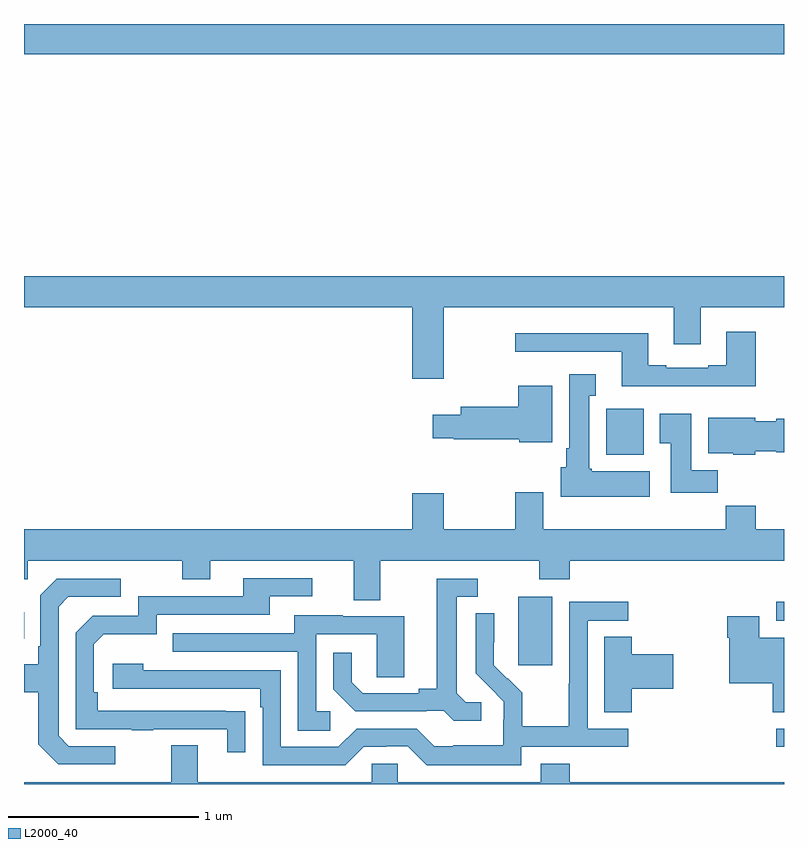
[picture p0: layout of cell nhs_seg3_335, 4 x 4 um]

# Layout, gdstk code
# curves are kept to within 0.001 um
import gdstk
lib = gdstk.Library(unit=1e-6, precision=1e-09)
def R(c, l, rs):  # rectangles x0, y0, x1, y1
    for r in rs: c.add(gdstk.rectangle(r[:2], r[2:], *l))
def P(c, l, *ps):  # polygons
    for p in ps: c.add(gdstk.Polygon(p, *l))
L2000_40 = (2000, 40)

nhs_seg3_335 = lib.new_cell('nhs_seg3_335')
R(nhs_seg3_335, L2000_40, [(130.959,706.596,131,706.692), (129.602,707.025,129.781,707.386), (127,707.165,127.001,707.305), (130.959,707.259,131,707.358), (130.064,708.134,130.261,708.376), (127,710.24,131,710.4)])
P(nhs_seg3_335, L2000_40, [(129.208,708.908),(130.421,708.908),(130.421,708.714),(130.561,708.714),(130.561,708.908),(131,708.908),(131,709.072),(127,709.072),(127,708.908),(129.044,708.908),(129.044,708.534),(129.208,708.534)],
  [(130.85,708.781),(130.697,708.781),(130.697,708.604),(130.601,708.604),(130.601,708.591),(130.381,708.591),(130.381,708.604),(130.285,708.604),(130.285,708.772),(129.585,708.772),(129.585,708.675),(130.145,708.675),(130.145,708.494),(130.85,708.494)],
  [(130.294,708.046),(129.989,708.046),(129.989,708.06),(129.976,708.06),(129.976,708.443),(130.009,708.443),(130.009,708.556),(129.869,708.556),(129.869,708.166),(129.854,708.166),(129.854,708.066),(129.824,708.066),(129.824,707.912),(130.294,707.912)],
  [(129.781,708.496),(129.602,708.496),(129.602,708.386),(129.299,708.386),(129.299,708.343),(129.15,708.343),(129.15,708.221),(129.262,708.221),(129.262,708.214),(129.606,708.214),(129.606,708.2),(129.781,708.2)],
  [(130.652,708.052),(130.513,708.052),(130.513,708.349),(130.346,708.349),(130.346,708.193),(130.403,708.193),(130.403,707.934),(130.652,707.934)],
  [(130.848,708.152),(130.959,708.152),(130.959,708.145),(131,708.145),(131,708.323),(130.959,708.323),(130.959,708.31),(130.848,708.31),(130.848,708.328),(130.601,708.328),(130.601,708.14),(130.734,708.14),(130.734,708.134),(130.848,708.134)],
  [(128.875,707.576),(129.712,707.576),(129.712,707.477),(129.872,707.477),(129.872,707.576),(131,707.576),(131,707.74),(130.85,707.74),(130.85,707.864),(130.693,707.864),(130.693,707.74),(129.733,707.74),(129.733,707.935),(129.586,707.935),(129.586,707.74),(129.208,707.74),(129.208,707.929),(129.044,707.929),(129.044,707.74),(127,707.74),(127,707.477),(127.02,707.477),(127.02,707.576),(127.834,707.576),(127.834,707.477),(127.981,707.477),(127.981,707.576),(128.735,707.576),(128.735,707.368),(128.875,707.368)],
  [(128.165,706.784),(127.388,706.785),(127.388,706.882),(127.368,706.882),(127.368,707.136),(127.421,707.189),(127.698,707.189),(127.698,707.292),(128.293,707.292),(128.293,707.388),(128.518,707.388),(128.518,707.484),(128.153,707.484),(128.153,707.388),(127.602,707.388),(127.602,707.286),(127.362,707.286),(127.272,707.196),(127.272,706.689),(127.567,706.689),(127.567,706.684),(127.679,706.684),(127.679,706.689),(128.069,706.689),(128.069,706.566),(128.165,706.566)],
  [(129.406,706.83),(129.324,706.83),(129.277,706.877),(129.277,707.385),(129.388,707.385),(129.388,707.481),(129.173,707.481),(129.173,706.901),(129.077,706.901),(129.077,706.878),(128.782,706.878),(128.725,706.935),(128.725,707.092),(128.628,707.092),(128.628,706.898),(128.744,706.782),(129.116,706.782),(129.116,706.785),(129.21,706.785),(129.262,706.733),(129.406,706.733)],
  [(127.48,706.599),(127.236,706.599),(127.182,706.653),(127.182,707.334),(127.233,707.385),(127.51,707.385),(127.51,707.481),(127.173,707.481),(127.086,707.394),(127.086,707.125),(127.074,707.125),(127.074,707.029),(127,707.029),(127,706.882),(127.074,706.882),(127.074,706.609),(127.179,706.503),(127.48,706.503)],
  [(129.618,706.596),(130.18,706.596),(130.18,706.692),(129.966,706.692),(129.966,707.259),(130.18,707.259),(130.18,707.358),(129.87,707.358),(129.87,706.928),(129.868,706.928),(129.868,706.705),(129.623,706.705),(129.623,706.879),(129.546,706.956),(129.543,706.953),(129.473,707.024),(129.474,707.3),(129.378,707.3),(129.378,706.982),(129.524,706.834),(129.524,706.737),(129.522,706.737),(129.522,706.603),(129.259,706.603),(129.259,706.599),(129.159,706.599),(129.066,706.692),(128.751,706.692),(128.655,706.596),(128.352,706.596),(128.352,706.998),(127.628,706.998),(127.628,707.032),(127.467,707.032),(127.467,706.902),(128.243,706.902),(128.243,706.805),(128.256,706.805),(128.256,706.5),(128.691,706.5),(128.787,706.596),(128.906,706.596),(128.906,706.599),(129.021,706.599),(129.121,706.499),(129.618,706.499)],
  [(128.611,706.782),(128.538,706.782),(128.538,707.187),(128.856,707.187),(128.856,706.963),(129.001,706.963),(129.001,707.283),(128.677,707.283),(128.677,707.287),(128.423,707.287),(128.423,707.193),(127.783,707.193),(127.783,707.097),(128.442,707.097),(128.442,706.681),(128.611,706.681)],
  [(131,707.17),(130.87,707.17),(130.87,707.284),(130.7,707.284),(130.7,707.171),(130.712,707.171),(130.712,706.931),(130.94,706.931),(130.94,706.777),(131,706.777)],
  [(130.199,706.901),(130.417,706.901),(130.417,707.084),(130.199,707.084),(130.199,707.174),(130.055,707.174),(130.055,706.777),(130.199,706.777)],
  [(131,706.408),(129.872,706.408),(129.872,706.507),(129.719,706.507),(129.719,706.408),(128.967,706.408),(128.967,706.506),(128.829,706.506),(128.829,706.408),(127.915,706.408),(127.915,706.603),(127.775,706.603),(127.775,706.408),(127,706.408),(127,706.4),(131,706.4)])

lib.write_gds('nhs_seg3_335.gds')
